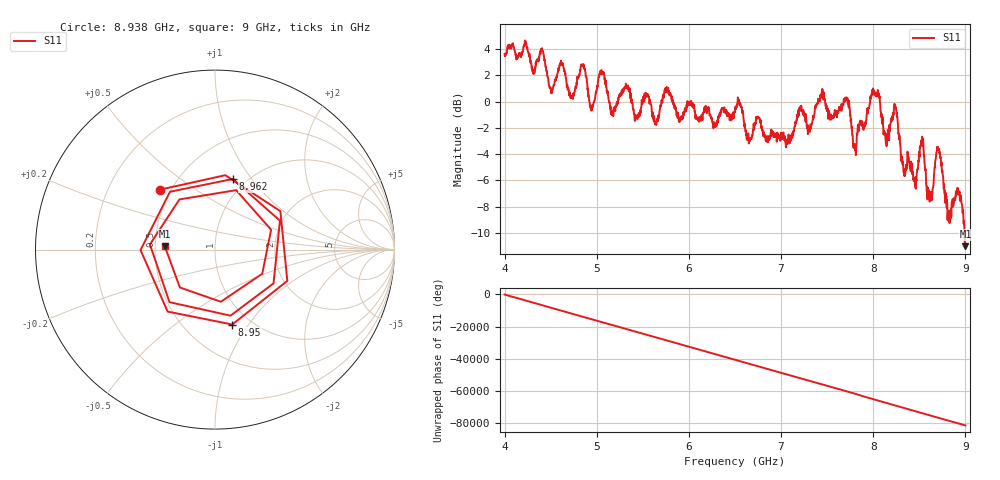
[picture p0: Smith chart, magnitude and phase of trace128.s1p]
! Created with skrf 1.8.0 (http://scikit-rf.org).
# Hz S RI R 50.0
!freq ReS11 ImS11
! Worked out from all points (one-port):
!   1601 points, 4 GHz to 9 GHz, reference 50 ohm
!   lowest |S11| = -11.0 dB at 9 GHz (marker M1), VSWR 1.78, Z = 28.1 + j1.22 ohm
!   |S11| at or under -10 dB: 8.989244 GHz to end of sweep
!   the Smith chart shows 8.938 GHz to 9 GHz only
!   S11 on the Smith chart (normalised r, x): 8.938 GHz: 0.44, +0.37; 8.95 GHz: 0.82, -0.84; 8.962 GHz: 0.86, +0.81; 9 GHz: 0.56, +0.02
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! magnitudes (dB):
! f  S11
! 4 GHz  3.6
! 4.403 GHz  3.9
! 4.506 GHz  0.6
! 4.625 GHz  2.8
! 4.725 GHz  0.4
! 4.847 GHz  2.8
! 4.941 GHz  -0.5
! 5.053 GHz  2.1
! 5.162 GHz  -1.0
! 5.25 GHz  0.4
! 5.875 GHz  -0.8
! 6.5 GHz  -0.8
! 7.125 GHz  -2.6
! 7.441 GHz  0.6
! 7.75 GHz  -1.1
! 7.803 GHz  -3.7
! 8.038 GHz  0.4
! 8.131 GHz  -2.6
! 8.241 GHz  -0.5
! 8.375 GHz  -4.0
! 8.531 GHz  -2.7
! 8.612 GHz  -7.6
! 8.709 GHz  -3.7
! 8.822 GHz  -8.3
! 8.938 GHz  -6.9
! 8.95 GHz  -7.4
! 8.962 GHz  -7.8
! 9 GHz  -11.0
